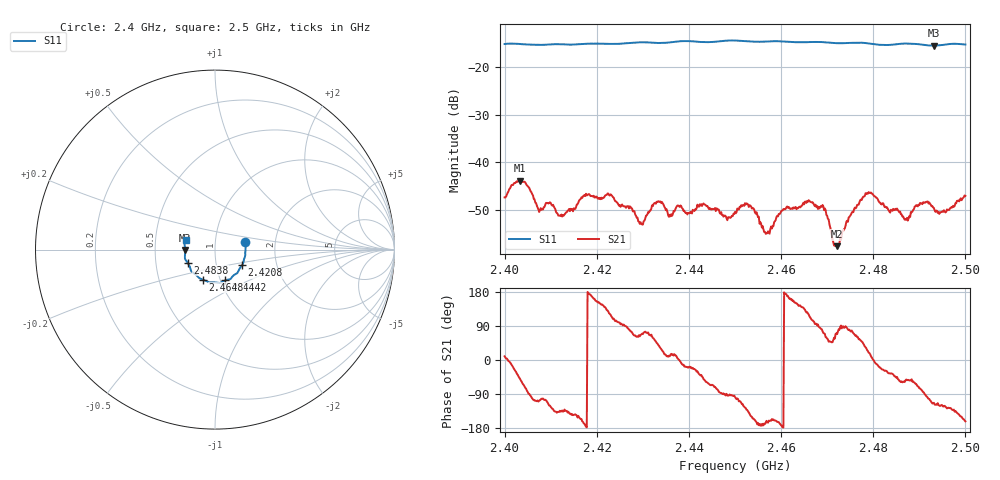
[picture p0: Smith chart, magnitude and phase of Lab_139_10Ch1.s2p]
# Hz S RI R 50
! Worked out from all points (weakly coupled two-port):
!   601 points, 2.4 GHz to 2.5 GHz, reference 50 ohm
!   highest |S21| = -43.82 dB at 2.4033 GHz (marker M1); lowest = -57.5 dB at 2.4722 GHz (marker M2)
!   lowest |S11| = -15.6 dB at 2.4932 GHz (marker M3), VSWR 1.40, Z = 35.8 - j0.0961 ohm
!   |S11| at or under -10 dB: start of sweep to end of sweep
!   S12 and S22 are empty: the file has one direction only
!   S11 on the Smith chart (normalised r, x): 2.4 GHz: 1.40, +0.12; 2.4208 GHz: 1.33, -0.24; 2.4442 GHz: 1.05, -0.37; 2.4648 GHz: 0.83, -0.29; 2.4838 GHz: 0.73, -0.11; 2.5 GHz: 0.72, +0.08
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2.4e9  0.1678 0.0412  0.00425 0.00073  0 0  0 0
2.403333e9  0.1714 0.0226  0.00417 -0.00491  0 0  0 0
2.4075e9  0.1688 -0.0136  -0.000888 -0.0029  0 0  0 0
2.412e9  0.1674 -0.0388  -0.00193 -0.00201  0 0  0 0
2.416667e9  0.159 -0.068  -0.00394 -0.00177  0 0  0 0
2.420833e9  0.1507 -0.0872  -0.00349 0.00222  0 0  0 0
2.4295e9  0.1257 -0.129  0.000975 0.00217  0 0  0 0
2.433333e9  0.108 -0.1401  0.00303 0.00251  0 0  0 0
2.436e9  0.0945 -0.1531  0.00266 0.000664  0 0  0 0
2.444167e9  0.0569 -0.1714  0.00164 -0.003  0 0  0 0
2.45e9  0.0245 -0.1862  -0.000414 -0.00302  0 0  0 0
2.453e9  0.00867 -0.1836  -0.0026 -0.00225  0 0  0 0
2.457e9  -0.0201 -0.1823  -0.00175 -0.000507  0 0  0 0
2.464833e9  -0.0683 -0.1666  -0.00282 0.00254  0 0  0 0
2.466667e9  -0.08 -0.1626  -0.00104 0.00369  0 0  0 0
2.4695e9  -0.0914 -0.1553  0.0012 0.00308  0 0  0 0
2.472167e9  -0.1028 -0.143  0.000491 0.00124  0 0  0 0
2.4785e9  -0.1357 -0.1126  0.00403 0.00241  0 0  0 0
2.483333e9  -0.1505 -0.0763  0.00259 -0.00181  0 0  0 0
2.483833e9  -0.1532 -0.0722  0.0026 -0.00187  0 0  0 0
2.493167e9  -0.166 -0.00131  -0.0013 -0.00308  0 0  0 0
2.5e9  -0.1623 0.0528  -0.00425 -0.00139  0 0  0 0
